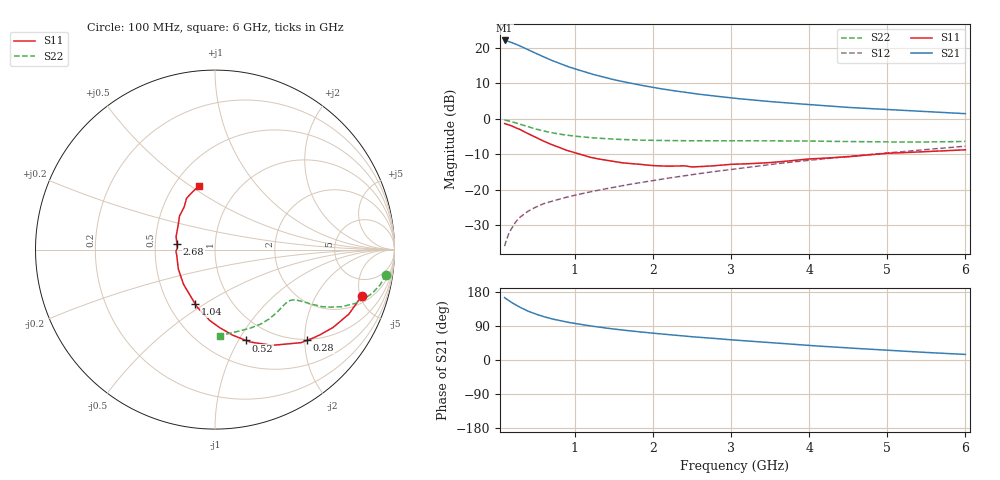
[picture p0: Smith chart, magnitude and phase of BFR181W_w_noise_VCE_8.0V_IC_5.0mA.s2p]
! Infineon Technologies  Discrete & RF Semiconductors
! BFR181W
! VCE =  8.0 V,  IC =  5.0 mA
! Common Emitter S-Parameters:  Nov 2015
# GHz  S  MA  R  50
!  f  S11  S21  S12  S22
! GHz  MAG  ANG  MAG  ANG  MAG  ANG  MAG  ANG
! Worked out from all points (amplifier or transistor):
!   192 points, 100 MHz to 6 GHz, reference 50 ohm
!   highest |S21| = 22.1 dB at 100 MHz (marker M1)
!   |S21| within 3 dB of that: start of sweep to 438.5 MHz
!   unconditionally stable (mu >= 1): 1.561 GHz to 3.238 GHz
!   at 440 MHz: K = 0.49, MSG = 22.3 dB, |S12| = -25.6 dB
!   at 1.7 GHz: K = 1.02, MAG = 13.5 dB, |S12| = -18.5 dB
!   at 6 GHz: K = 0.81, MSG = 4.6 dB, |S12| = -7.7 dB
!   lowest NFmin = 1.55 dB at 450 MHz
!   S11 on the Smith chart (normalised r, x): 100 MHz: 2.65, -5.18; 280 MHz: 0.98, -2.06; 520 MHz: 0.76, -1.08; 1.04 GHz: 0.68, -0.46; 2.68 GHz: 0.65, +0.04; 6 GHz: 0.66, +0.54
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0.1  0.8577 -17.5  12.78 164.6  0.016 80.1  0.9649 -8.4
0.15  0.8276 -25.8  12.38 157.2  0.0236 75.9  0.9396 -12.2
0.2  0.7879 -33.4  11.87 150.5  0.0298 72.7  0.9084 -15.6
0.24  0.7526 -39.2  11.39 145.7  0.0348 70.2  0.8802 -17.8
0.28  0.7207 -44.5  10.89 141.1  0.0391 67.9  0.8529 -19.8
0.3  0.7064 -47.2  10.65 138.8  0.0412 66.8  0.8396 -20.8
0.4  0.6205 -59.3  9.482 128.8  0.0498 63.2  0.7743 -24.3
0.52  0.5356 -71.0  8.221 119.8  0.0582 60.4  0.7097 -26.8
0.6  0.4858 -78.5  7.501 114.5  0.0636 59.5  0.6741 -28.1
0.7  0.4349 -86.7  6.711 108.8  0.0686 58.9  0.6389 -28.9
0.8  0.3957 -94.3  6.081 104.0  0.0736 58.8  0.6106 -29.7
0.9  0.359 -101.1  5.518 99.9  0.0788 58.9  0.5885 -30.1
1.04  0.3233 -109.8  4.926 95.1  0.0857 59.4  0.5651 -30.8
1.1  0.3085 -113.3  4.701 93.3  0.0886 59.6  0.5567 -31.0
1.2  0.2867 -119.8  4.338 89.8  0.0936 59.9  0.5427 -31.4
1.48  0.2533 -135.9  3.616 82.2  0.1075 60.9  0.5188 -32.7
2.08  0.2172 -165.4  2.687 69.2  0.1395 62.9  0.496 -36.7
2.68  0.2145 171.7  2.171 58.7  0.1743 63.5  0.4912 -42.1
3.1  0.2303 158.8  1.928 51.9  0.2002 63.3  0.491 -46.8
4.1  0.2754 134.4  1.563 37.0  0.2675 60.6  0.4847 -59.9
5.1  0.3304 117.3  1.339 24.5  0.3383 56.6  0.4729 -74.2
6  0.3662 103.8  1.185 14.7  0.412 52.3  0.481 -86.9
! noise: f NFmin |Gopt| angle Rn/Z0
0.45  1.55  0.48  17  0.36
0.9  1.65  0.4  35  0.34
1.8  2  0.18  88  0.34
